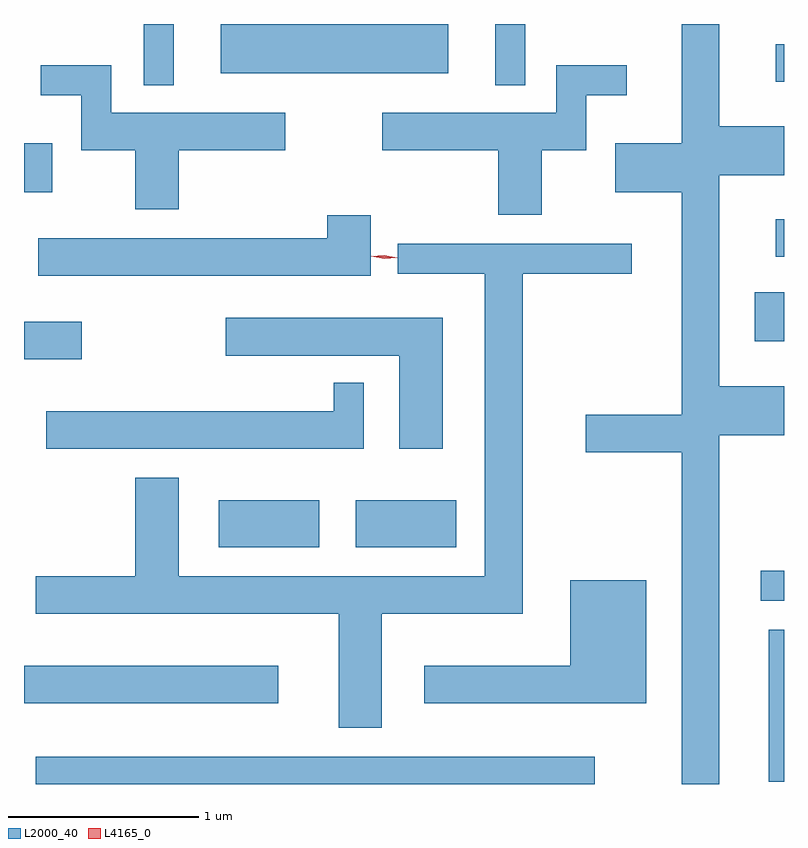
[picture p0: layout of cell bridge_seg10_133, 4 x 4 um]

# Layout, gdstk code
import gdstk
lib = gdstk.Library(unit=1e-6, precision=1e-09)
def R(c, l, rs):  # rectangles x0, y0, x1, y1
    for r in rs: c.add(gdstk.rectangle(r[:2], r[2:], *l))
def P(c, l, *ps):  # polygons
    for p in ps: c.add(gdstk.Polygon(p, *l))
L2000_40 = (2000, 40)
L4165_0 = (4165, 0)

bridge_seg10_133 = lib.new_cell('bridge_seg10_133')
R(bridge_seg10_133, L2000_40, [(1695.651,2125.146,1698.594,2125.289), (1699.511,2125.158,1699.59,2125.959), (1695.59,2125.571,1696.929,2125.769), (1699.468,2126.111,1699.59,2126.269), (1696.616,2126.391,1697.144,2126.639), (1697.336,2126.391,1697.864,2126.639), (1695.59,2127.381,1695.894,2127.579), (1699.436,2127.476,1699.59,2127.734), (1699.546,2127.921,1699.59,2128.119), (1695.59,2128.261,1695.739,2128.519), (1696.221,2128.823,1696.379,2129.146), (1698.071,2128.823,1698.229,2129.146), (1699.546,2128.841,1699.59,2129.039), (1696.626,2128.886,1697.824,2129.144)])
P(bridge_seg10_133, L2000_40, [(1699.249,2126.981),(1699.59,2126.981),(1699.59,2127.239),(1699.249,2127.239),(1699.249,2128.351),(1699.59,2128.351),(1699.59,2128.609),(1699.249,2128.609),(1699.249,2129.146),(1699.051,2129.146),(1699.051,2128.519),(1698.701,2128.519),(1698.701,2128.261),(1699.051,2128.261),(1699.051,2127.089),(1698.546,2127.089),(1698.546,2126.891),(1699.051,2126.891),(1699.051,2125.146),(1699.249,2125.146)],
  [(1698.314,2128.481),(1698.549,2128.481),(1698.549,2128.771),(1698.763,2128.771),(1698.763,2128.929),(1698.391,2128.929),(1698.391,2128.679),(1697.476,2128.679),(1697.476,2128.481),(1698.086,2128.481),(1698.086,2128.141),(1698.314,2128.141)],
  [(1696.404,2128.481),(1696.964,2128.481),(1696.964,2128.679),(1696.049,2128.679),(1696.049,2128.929),(1695.678,2128.929),(1695.678,2128.771),(1695.891,2128.771),(1695.891,2128.481),(1696.176,2128.481),(1696.176,2128.171),(1696.404,2128.171)],
  [(1697.414,2128.139),(1697.186,2128.139),(1697.186,2128.019),(1695.666,2128.019),(1695.666,2127.821),(1697.414,2127.821)],
  [(1697.474,2126.041),(1698.214,2126.041),(1698.214,2127.831),(1698.788,2127.831),(1698.788,2127.989),(1697.558,2127.989),(1697.558,2127.831),(1698.016,2127.831),(1698.016,2126.239),(1696.404,2126.239),(1696.404,2126.759),(1696.176,2126.759),(1696.176,2126.239),(1695.651,2126.239),(1695.651,2126.041),(1697.246,2126.041),(1697.246,2125.441),(1697.474,2125.441)],
  [(1697.794,2127.599),(1696.651,2127.599),(1696.651,2127.401),(1697.566,2127.401),(1697.566,2126.911),(1697.794,2126.911)],
  [(1697.379,2127.258),(1697.221,2127.258),(1697.221,2127.109),(1695.706,2127.109),(1695.706,2126.911),(1697.379,2126.911)],
  [(1698.864,2126.219),(1698.466,2126.219),(1698.466,2125.769),(1697.696,2125.769),(1697.696,2125.571),(1698.864,2125.571)])
P(bridge_seg10_133, L4165_0, [(1697.486,2127.91),(1697.418,2127.923),(1697.417,2127.924),(1697.418,2127.924),(1697.487,2127.93),(1697.555,2127.917),(1697.555,2127.917),(1697.555,2127.916)])

lib.write_gds('bridge_seg10_133.gds')
